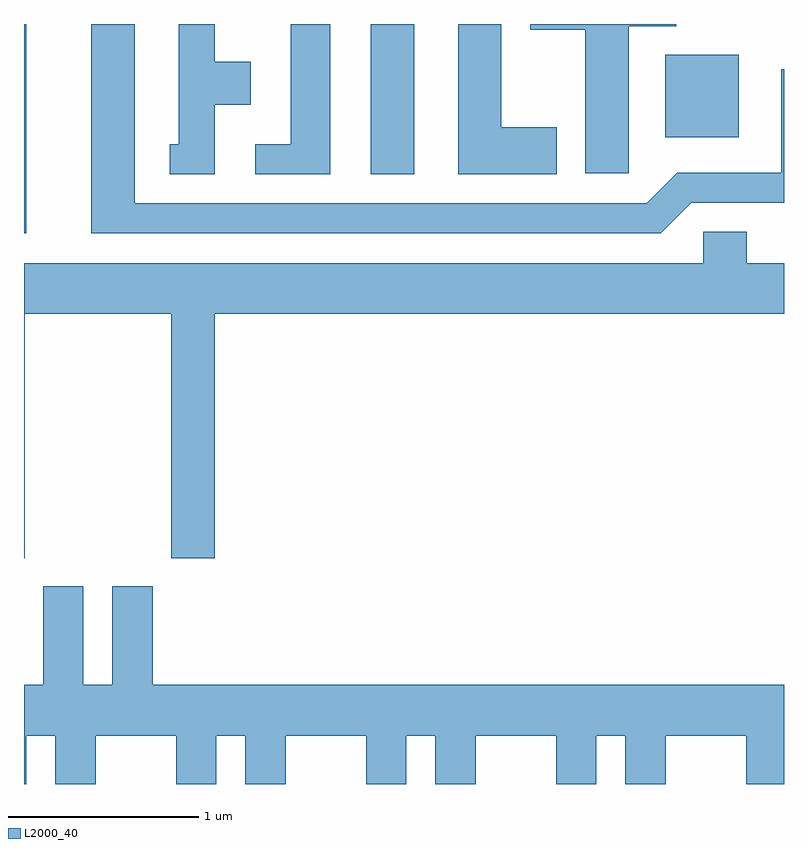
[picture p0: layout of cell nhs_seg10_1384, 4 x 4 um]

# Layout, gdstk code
import gdstk
lib = gdstk.Library(unit=1e-6, precision=1e-09)
def R(c, l, rs):  # rectangles x0, y0, x1, y1
    for r in rs: c.add(gdstk.rectangle(r[:2], r[2:], *l))
def P(c, l, *ps):  # polygons
    for p in ps: c.add(gdstk.Polygon(p, *l))
L2000_40 = (2000, 40)

nhs_seg10_1384 = lib.new_cell('nhs_seg10_1384')
R(nhs_seg10_1384, L2000_40, [(225.611,2145.421,225.624,2146.522), (227.436,2145.731,227.664,2146.522), (228.986,2145.926,229.374,2146.359)])
P(nhs_seg10_1384, L2000_40, [(229.122,2145.581),(229.611,2145.581),(229.611,2146.283),(229.596,2146.283),(229.596,2145.739),(229.049,2145.739),(228.889,2145.579),(226.194,2145.579),(226.194,2146.522),(225.966,2146.522),(225.966,2145.421),(228.962,2145.421)],
  [(228.794,2146.511),(229.044,2146.511),(229.044,2146.522),(228.276,2146.522),(228.276,2146.491),(228.566,2146.491),(228.566,2145.736),(228.794,2145.736)],
  [(228.414,2145.979),(228.124,2145.979),(228.124,2146.522),(227.896,2146.522),(227.896,2145.731),(228.414,2145.731)],
  [(227.224,2146.522),(227.016,2146.522),(227.016,2145.889),(226.828,2145.889),(226.828,2145.731),(227.224,2145.731)],
  [(226.614,2146.096),(226.804,2146.096),(226.804,2146.324),(226.614,2146.324),(226.614,2146.522),(226.426,2146.522),(226.426,2145.889),(226.378,2145.889),(226.378,2145.731),(226.614,2145.731)],
  [(225.614,2144.996),(226.386,2144.996),(226.386,2143.711),(226.614,2143.711),(226.614,2144.996),(229.611,2144.996),(229.611,2145.264),(229.414,2145.264),(229.414,2145.429),(229.186,2145.429),(229.186,2145.264),(225.611,2145.264),(225.611,2143.711),(225.614,2143.711)],
  [(225.924,2143.564),(225.711,2143.564),(225.711,2143.044),(225.611,2143.044),(225.611,2142.522),(225.624,2142.522),(225.624,2142.776),(225.776,2142.776),(225.776,2142.522),(225.989,2142.522),(225.989,2142.776),(226.411,2142.776),(226.411,2142.522),(226.624,2142.522),(226.624,2142.776),(226.776,2142.776),(226.776,2142.522),(226.989,2142.522),(226.989,2142.776),(227.411,2142.776),(227.411,2142.522),(227.624,2142.522),(227.624,2142.776),(227.776,2142.776),(227.776,2142.522),(227.989,2142.522),(227.989,2142.776),(228.411,2142.776),(228.411,2142.522),(228.624,2142.522),(228.624,2142.776),(228.776,2142.776),(228.776,2142.522),(228.989,2142.522),(228.989,2142.776),(229.411,2142.776),(229.411,2142.522),(229.611,2142.522),(229.611,2143.044),(226.289,2143.044),(226.289,2143.564),(226.076,2143.564),(226.076,2143.044),(225.924,2143.044)])

lib.write_gds('nhs_seg10_1384.gds')
